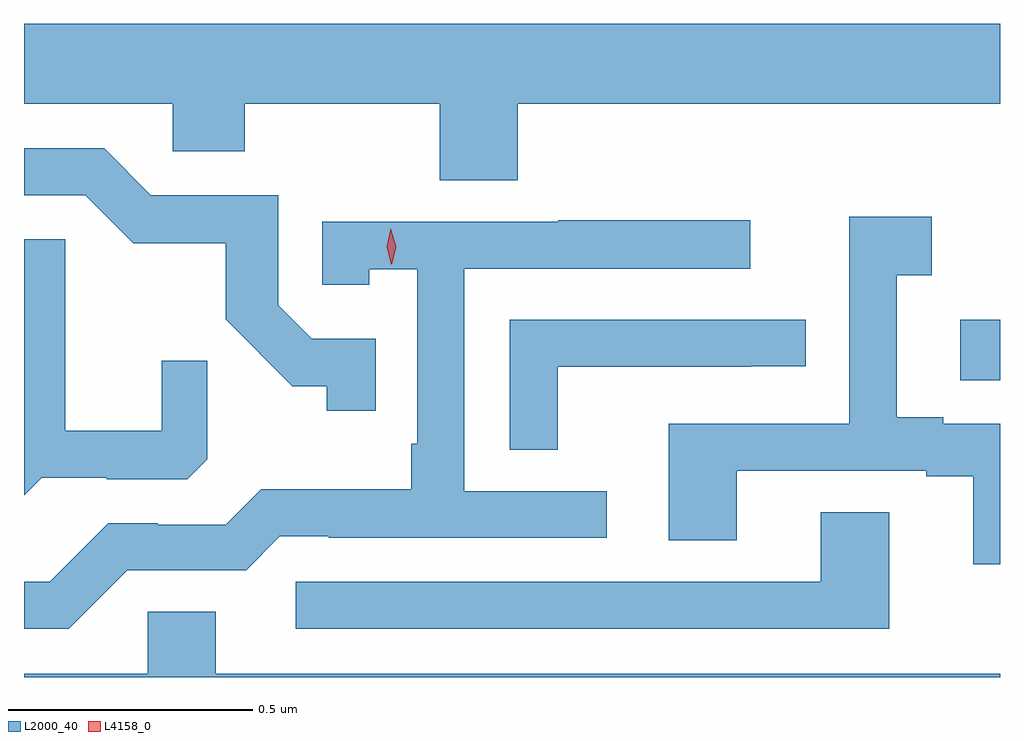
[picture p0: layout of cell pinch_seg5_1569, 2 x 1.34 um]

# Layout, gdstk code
import gdstk
lib = gdstk.Library(unit=1e-6, precision=1e-09)
def R(c, l, rs):  # rectangles x0, y0, x1, y1
    for r in rs: c.add(gdstk.rectangle(r[:2], r[2:], *l))
def P(c, l, *ps):  # polygons
    for p in ps: c.add(gdstk.Polygon(p, *l))
L2000_40 = (2000, 40)
L4158_0 = (4158, 0)

pinch_seg5_1569 = lib.new_cell('pinch_seg5_1569')
R(pinch_seg5_1569, L2000_40, [(327.015,856.193,327.096,856.317)])
P(pinch_seg5_1569, L2000_40, [(326.108,856.76),(327.096,856.76),(327.096,856.924),(325.096,856.924),(325.096,856.76),(325.401,856.76),(325.401,856.662),(325.548,856.662),(325.548,856.76),(325.948,856.76),(325.948,856.603),(326.108,856.603)],
  [(325.817,856.278),(325.686,856.278),(325.617,856.347),(325.617,856.572),(325.356,856.572),(325.26,856.668),(325.096,856.668),(325.096,856.572),(325.221,856.572),(325.32,856.474),(325.509,856.474),(325.509,856.318),(325.646,856.181),(325.716,856.181),(325.716,856.131),(325.817,856.131)],
  [(327.096,856.104),(326.98,856.104),(326.98,856.117),(326.884,856.117),(326.884,856.408),(326.956,856.408),(326.956,856.528),(326.787,856.528),(326.787,856.104),(326.417,856.104),(326.417,855.865),(326.557,855.865),(326.557,856.008),(326.945,856.008),(326.945,855.996),(327.041,855.996),(327.041,855.816),(327.096,855.816)],
  [(325.308,855.804),(325.551,855.804),(325.62,855.873),(325.72,855.873),(325.72,855.87),(326.29,855.87),(326.29,855.966),(325.998,855.966),(325.998,856.422),(326.584,856.422),(326.584,856.521),(326.191,856.521),(326.191,856.518),(325.707,856.518),(325.707,856.389),(325.803,856.389),(325.803,856.421),(325.902,856.421),(325.902,856.063),(325.89,856.063),(325.89,855.97),(325.582,855.97),(325.509,855.897),(325.37,855.897),(325.37,855.9),(325.269,855.9),(325.149,855.78),(325.096,855.78),(325.096,855.684),(325.188,855.684)],
  [(325.132,855.993),(325.266,855.993),(325.266,855.99),(325.431,855.99),(325.472,856.031),(325.472,856.233),(325.378,856.233),(325.378,856.09),(325.181,856.09),(325.181,856.482),(325.096,856.482),(325.096,855.957)],
  [(326.19,856.221),(326.585,856.221),(326.585,856.222),(326.698,856.222),(326.698,856.317),(326.091,856.317),(326.091,856.051),(326.19,856.051)],
  [(326.869,855.923),(326.729,855.923),(326.729,855.78),(325.653,855.78),(325.653,855.684),(326.869,855.684)],
  [(327.096,855.592),(325.489,855.592),(325.489,855.719),(325.35,855.719),(325.35,855.592),(325.096,855.592),(325.096,855.584),(327.096,855.584)])
P(pinch_seg5_1569, L4158_0, [(325.849,856.431),(325.839,856.467),(325.848,856.503),(325.848,856.503),(325.848,856.503),(325.859,856.467),(325.85,856.431),(325.85,856.431)])

lib.write_gds('pinch_seg5_1569.gds')
